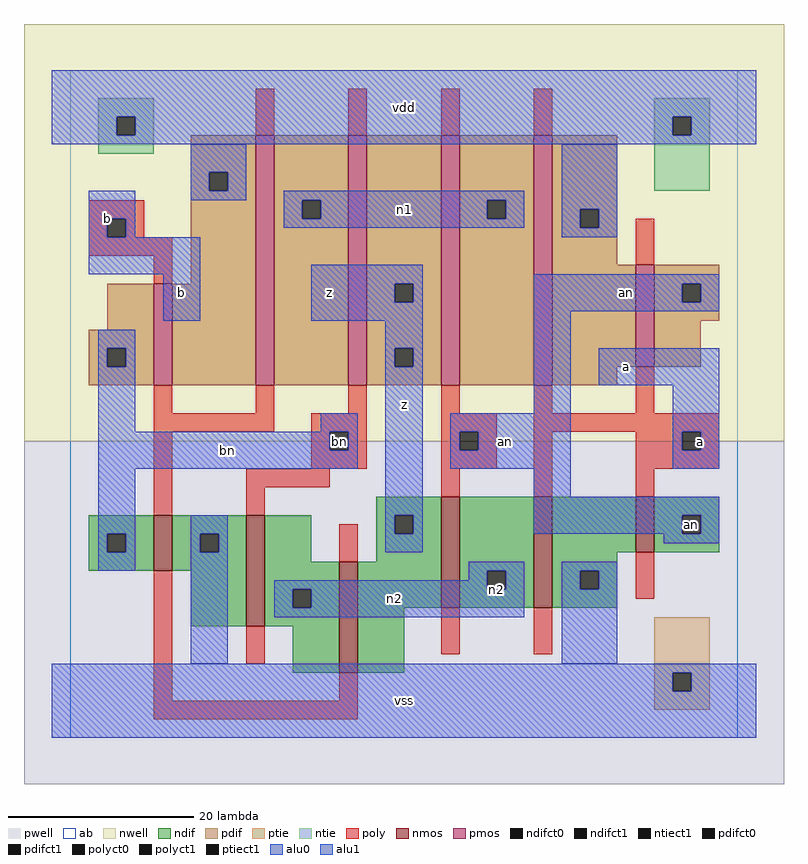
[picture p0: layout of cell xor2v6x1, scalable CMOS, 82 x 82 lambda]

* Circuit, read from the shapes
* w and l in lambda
.subckt xor2v6x1 a an b bn n1 n2 vdd vss z
M1 vss b bn vss nfet w=6 l=2
M2 n2 bn vss vss nfet w=12 l=2
M3 z b n2 vss nfet w=12 l=2
M4 n2 an z vss nfet w=12 l=2
M5 vss a n2 vss nfet w=12 l=2
M6 an a vss vss nfet w=6 l=2
M7 vdd b bn vdd pfet w=11 l=2
M8 n1 b vdd vdd pfet w=27 l=2
M9 z bn n1 vdd pfet w=27 l=2
M10 n1 an z vdd pfet w=27 l=2
M11 vdd a n1 vdd pfet w=27 l=2
M12 an a vdd vdd pfet w=11 l=2
.ends

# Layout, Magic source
magic
tech scmos
<< ab >>
rect 0 0 72 72
<< nwell >>
rect -5 32 77 77
<< pwell >>
rect -5 -5 77 32
<< poly >>
rect 20 65 22 70
rect 30 65 32 70
rect 40 65 42 70
rect 50 65 52 70
rect 2 56 8 58
rect 2 54 4 56
rect 6 54 8 56
rect 2 52 11 54
rect 9 49 11 52
rect 61 51 63 56
rect 9 35 11 38
rect 20 35 22 38
rect 30 35 32 38
rect 9 33 22 35
rect 26 33 32 35
rect 9 24 11 33
rect 26 31 28 33
rect 30 31 32 33
rect 26 29 32 31
rect 40 35 42 38
rect 50 35 52 38
rect 61 35 63 40
rect 40 33 46 35
rect 40 31 42 33
rect 44 31 46 33
rect 40 29 46 31
rect 50 33 70 35
rect 19 27 28 29
rect 19 24 21 27
rect 40 26 42 29
rect 50 26 52 33
rect 61 31 66 33
rect 68 31 70 33
rect 61 29 70 31
rect 61 26 63 29
rect 9 4 11 18
rect 29 19 31 23
rect 19 8 21 12
rect 61 15 63 20
rect 40 9 42 14
rect 50 9 52 14
rect 29 4 31 7
rect 9 2 31 4
<< ndif >>
rect 33 24 40 26
rect 2 22 9 24
rect 2 20 4 22
rect 6 20 9 22
rect 2 18 9 20
rect 11 22 19 24
rect 11 20 14 22
rect 16 20 19 22
rect 11 18 19 20
rect 13 12 19 18
rect 21 19 26 24
rect 33 22 35 24
rect 37 22 40 24
rect 33 19 40 22
rect 21 16 29 19
rect 21 14 24 16
rect 26 14 29 16
rect 21 12 29 14
rect 24 7 29 12
rect 31 14 40 19
rect 42 18 50 26
rect 42 16 45 18
rect 47 16 50 18
rect 42 14 50 16
rect 52 20 61 26
rect 63 24 70 26
rect 63 22 66 24
rect 68 22 70 24
rect 63 20 70 22
rect 52 18 59 20
rect 52 16 55 18
rect 57 16 59 18
rect 52 14 59 16
rect 31 7 36 14
<< pdif >>
rect 13 61 20 65
rect 13 59 15 61
rect 17 59 20 61
rect 13 49 20 59
rect 4 44 9 49
rect 2 42 9 44
rect 2 40 4 42
rect 6 40 9 42
rect 2 38 9 40
rect 11 38 20 49
rect 22 58 30 65
rect 22 56 25 58
rect 27 56 30 58
rect 22 38 30 56
rect 32 49 40 65
rect 32 47 35 49
rect 37 47 40 49
rect 32 42 40 47
rect 32 40 35 42
rect 37 40 40 42
rect 32 38 40 40
rect 42 58 50 65
rect 42 56 45 58
rect 47 56 50 58
rect 42 38 50 56
rect 52 57 59 65
rect 52 55 55 57
rect 57 55 59 57
rect 52 51 59 55
rect 52 40 61 51
rect 63 49 70 51
rect 63 47 66 49
rect 68 47 70 49
rect 63 45 70 47
rect 63 40 68 45
rect 52 38 59 40
<< alu1 >>
rect -2 67 74 72
rect -2 65 5 67
rect 7 65 65 67
rect 67 65 74 67
rect -2 64 74 65
rect 2 56 7 59
rect 2 54 4 56
rect 6 54 7 56
rect 2 50 14 54
rect 10 45 14 50
rect 26 49 38 51
rect 26 47 35 49
rect 37 47 38 49
rect 26 45 38 47
rect 34 42 38 45
rect 34 40 35 42
rect 37 40 38 42
rect 34 24 38 40
rect 57 38 70 42
rect 65 33 70 38
rect 65 31 66 33
rect 68 31 70 33
rect 65 29 70 31
rect 34 22 35 24
rect 37 22 38 24
rect 34 20 38 22
rect -2 7 74 8
rect -2 5 65 7
rect 67 5 74 7
rect -2 0 74 5
<< ptie >>
rect 63 7 69 13
rect 63 5 65 7
rect 67 5 69 7
rect 63 3 69 5
<< ntie >>
rect 3 67 9 69
rect 3 65 5 67
rect 7 65 9 67
rect 63 67 69 69
rect 63 65 65 67
rect 67 65 69 67
rect 3 63 9 65
rect 63 59 69 65
<< nmos >>
rect 9 18 11 24
rect 19 12 21 24
rect 29 7 31 19
rect 40 14 42 26
rect 50 14 52 26
rect 61 20 63 26
<< pmos >>
rect 9 38 11 49
rect 20 38 22 65
rect 30 38 32 65
rect 40 38 42 65
rect 50 38 52 65
rect 61 40 63 51
<< polyct0 >>
rect 28 31 30 33
rect 42 31 44 33
<< polyct1 >>
rect 4 54 6 56
rect 66 31 68 33
<< ndifct0 >>
rect 4 20 6 22
rect 14 20 16 22
rect 24 14 26 16
rect 45 16 47 18
rect 66 22 68 24
rect 55 16 57 18
<< ndifct1 >>
rect 35 22 37 24
<< ntiect1 >>
rect 5 65 7 67
rect 65 65 67 67
<< ptiect1 >>
rect 65 5 67 7
<< pdifct0 >>
rect 15 59 17 61
rect 4 40 6 42
rect 25 56 27 58
rect 45 56 47 58
rect 55 55 57 57
rect 66 47 68 49
<< pdifct1 >>
rect 35 47 37 49
rect 35 40 37 42
<< alu0 >>
rect 13 61 19 64
rect 13 59 15 61
rect 17 59 19 61
rect 13 58 19 59
rect 23 58 49 59
rect 23 56 25 58
rect 27 56 45 58
rect 47 56 49 58
rect 23 55 49 56
rect 53 57 59 64
rect 53 55 55 57
rect 57 55 59 57
rect 53 54 59 55
rect 3 42 7 44
rect 3 40 4 42
rect 6 40 7 42
rect 3 33 7 40
rect 27 33 31 35
rect 3 31 28 33
rect 30 31 31 33
rect 3 29 31 31
rect 3 22 7 29
rect 50 49 70 50
rect 50 47 66 49
rect 68 47 70 49
rect 50 46 70 47
rect 50 35 54 46
rect 41 33 54 35
rect 41 31 42 33
rect 44 31 54 33
rect 41 29 54 31
rect 3 20 4 22
rect 6 20 7 22
rect 3 18 7 20
rect 13 22 17 24
rect 13 20 14 22
rect 16 20 17 22
rect 50 26 54 29
rect 50 24 70 26
rect 50 22 66 24
rect 68 22 70 24
rect 64 21 70 22
rect 13 8 17 20
rect 43 18 49 19
rect 43 17 45 18
rect 22 16 45 17
rect 47 16 49 18
rect 22 14 24 16
rect 26 14 49 16
rect 22 13 49 14
rect 53 18 59 19
rect 53 16 55 18
rect 57 16 59 18
rect 53 8 59 16
<< labels >>
rlabel alu0 17 31 17 31 6 bn
rlabel polyct0 29 32 29 32 6 bn
rlabel alu0 35 15 35 15 6 n2
rlabel alu0 46 16 46 16 6 n2
rlabel alu0 36 57 36 57 6 n1
rlabel alu0 47 32 47 32 6 an
rlabel ndifct0 67 23 67 23 6 an
rlabel alu0 60 48 60 48 6 an
rlabel alu1 12 48 12 48 6 b
rlabel alu1 4 56 4 56 6 b
rlabel alu1 28 48 28 48 6 z
rlabel alu1 36 4 36 4 6 vss
rlabel alu1 36 36 36 36 6 z
rlabel alu1 36 68 36 68 6 vdd
rlabel alu1 68 32 68 32 6 a
rlabel alu1 60 40 60 40 6 a
<< end >>
